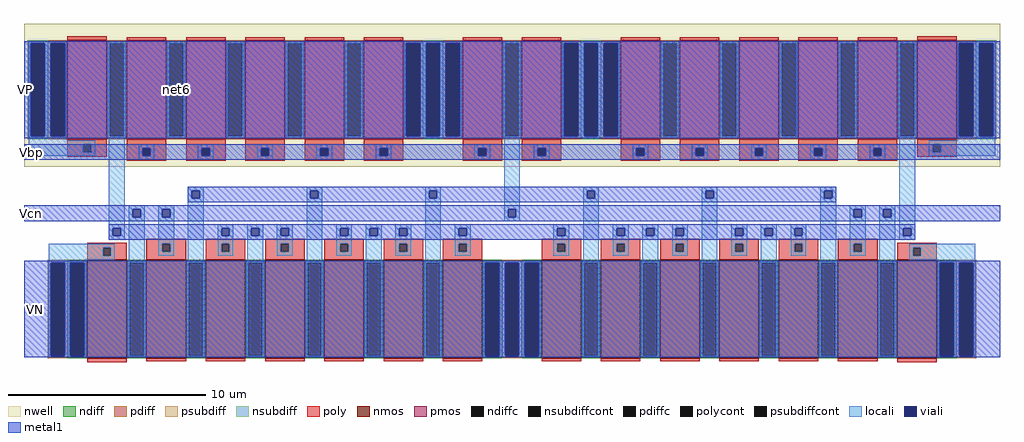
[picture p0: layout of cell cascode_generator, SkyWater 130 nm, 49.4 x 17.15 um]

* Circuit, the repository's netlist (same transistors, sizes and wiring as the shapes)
* SPICE3 file created from cascode_generator.ext - technology: sky130A


* Top level circuit cascode_generator

X0 a_1220_3790# w_380_3510# w_380_3510# w_380_3510# sky130_fd_pr__pfet_01v8 ad=1e+13p pd=2.4e+07u as=3e+13p ps=7.2e+07u w=5e+06u l=2e+06u
X1 a_620_1570# a_1220_3790# a_2020_1570# a_620_1570# sky130_fd_pr__nfet_01v8 ad=2e+13p pd=4.8e+07u as=3e+13p ps=7.2e+07u w=5e+06u l=2e+06u
X2 a_2020_1570# a_1220_3790# a_620_1570# a_620_1570# sky130_fd_pr__nfet_01v8 ad=0p pd=0u as=0p ps=0u w=5e+06u l=2e+06u
X3 w_380_3510# a_1420_3570# a_1420_1570# w_380_3510# sky130_fd_pr__pfet_01v8 ad=0p pd=0u as=5e+12p ps=1.2e+07u w=5e+06u l=2e+06u
X4 a_6820_3790# a_1420_3570# w_380_3510# w_380_3510# sky130_fd_pr__pfet_01v8 ad=5e+12p pd=1.2e+07u as=0p ps=0u w=5e+06u l=2e+06u
X5 a_1420_1570# a_1420_1570# a_2020_1570# a_620_1570# sky130_fd_pr__nfet_01v8 ad=1e+13p pd=2.4e+07u as=0p ps=0u w=5e+06u l=2e+06u
X6 a_1220_3790# a_1220_3790# a_2020_1570# a_620_1570# sky130_fd_pr__nfet_01v8 ad=2e+13p pd=4.8e+07u as=0p ps=0u w=5e+06u l=2e+06u
X7 a_3620_3790# a_1420_3570# a_3020_3790# w_380_3510# sky130_fd_pr__pfet_01v8 ad=5e+12p pd=1.2e+07u as=5e+12p ps=1.2e+07u w=5e+06u l=2e+06u
X8 w_380_3510# w_380_3510# a_1220_3790# w_380_3510# sky130_fd_pr__pfet_01v8 ad=0p pd=0u as=0p ps=0u w=5e+06u l=2e+06u
X9 a_1220_3790# a_1220_3790# a_2020_1570# a_620_1570# sky130_fd_pr__nfet_01v8 ad=0p pd=0u as=0p ps=0u w=5e+06u l=2e+06u
X10 a_1220_3790# a_1220_3790# a_2020_1570# a_620_1570# sky130_fd_pr__nfet_01v8 ad=0p pd=0u as=0p ps=0u w=5e+06u l=2e+06u
X11 a_2420_3790# a_1420_3570# net6 w_380_3510# sky130_fd_pr__pfet_01v8 ad=5e+12p pd=1.2e+07u as=5e+12p ps=1.2e+07u w=5e+06u l=2e+06u
X12 w_380_3510# a_1420_3570# a_3620_3790# w_380_3510# sky130_fd_pr__pfet_01v8 ad=0p pd=0u as=0p ps=0u w=5e+06u l=2e+06u
X13 a_8620_3790# a_1420_3570# a_8020_3790# w_380_3510# sky130_fd_pr__pfet_01v8 ad=5e+12p pd=1.2e+07u as=5e+12p ps=1.2e+07u w=5e+06u l=2e+06u
X14 a_1420_1570# a_1420_3570# w_380_3510# w_380_3510# sky130_fd_pr__pfet_01v8 ad=0p pd=0u as=0p ps=0u w=5e+06u l=2e+06u
X15 a_1420_1570# a_620_1570# a_620_1570# a_620_1570# sky130_fd_pr__nfet_01v8 ad=0p pd=0u as=0p ps=0u w=5e+06u l=2e+06u
X16 a_1220_3790# a_1220_3790# a_2020_1570# a_620_1570# sky130_fd_pr__nfet_01v8 ad=0p pd=0u as=0p ps=0u w=5e+06u l=2e+06u
X17 a_2020_1570# a_1220_3790# a_1220_3790# a_620_1570# sky130_fd_pr__nfet_01v8 ad=0p pd=0u as=0p ps=0u w=5e+06u l=2e+06u
X18 a_3020_3790# a_1420_3570# a_2420_3790# w_380_3510# sky130_fd_pr__pfet_01v8 ad=0p pd=0u as=0p ps=0u w=5e+06u l=2e+06u
X19 a_7420_3790# a_1420_3570# a_6820_3790# w_380_3510# sky130_fd_pr__pfet_01v8 ad=5e+12p pd=1.2e+07u as=0p ps=0u w=5e+06u l=2e+06u
X20 a_1220_3790# a_1420_3570# a_8620_3790# w_380_3510# sky130_fd_pr__pfet_01v8 ad=0p pd=0u as=0p ps=0u w=5e+06u l=2e+06u
X21 a_620_1570# a_620_1570# a_1420_1570# a_620_1570# sky130_fd_pr__nfet_01v8 ad=0p pd=0u as=0p ps=0u w=5e+06u l=2e+06u
X22 a_2020_1570# a_1220_3790# a_1220_3790# a_620_1570# sky130_fd_pr__nfet_01v8 ad=0p pd=0u as=0p ps=0u w=5e+06u l=2e+06u
X23 a_2020_1570# a_1420_1570# a_1420_1570# a_620_1570# sky130_fd_pr__nfet_01v8 ad=0p pd=0u as=0p ps=0u w=5e+06u l=2e+06u
X24 a_2020_1570# a_1220_3790# a_1220_3790# a_620_1570# sky130_fd_pr__nfet_01v8 ad=0p pd=0u as=0p ps=0u w=5e+06u l=2e+06u
X25 net6 a_1420_3570# a_1220_3790# w_380_3510# sky130_fd_pr__pfet_01v8 ad=0p pd=0u as=0p ps=0u w=5e+06u l=2e+06u
X26 a_8020_3790# a_1420_3570# a_7420_3790# w_380_3510# sky130_fd_pr__pfet_01v8 ad=0p pd=0u as=0p ps=0u w=5e+06u l=2e+06u
X27 a_2020_1570# a_1220_3790# a_1220_3790# a_620_1570# sky130_fd_pr__nfet_01v8 ad=0p pd=0u as=0p ps=0u w=5e+06u l=2e+06u
.end

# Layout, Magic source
magic
tech sky130A
<< nwell >>
rect 190 1755 5130 2480
<< nmos >>
rect 510 785 710 1285
rect 810 785 1010 1285
rect 1110 785 1310 1285
rect 1410 785 1610 1285
rect 1710 785 1910 1285
rect 2010 785 2210 1285
rect 2310 785 2510 1285
rect 2810 785 3010 1285
rect 3110 785 3310 1285
rect 3410 785 3610 1285
rect 3710 785 3910 1285
rect 4010 785 4210 1285
rect 4310 785 4510 1285
rect 4610 785 4810 1285
<< pmos >>
rect 410 1895 610 2395
rect 710 1895 910 2395
rect 1010 1895 1210 2395
rect 1310 1895 1510 2395
rect 1610 1895 1810 2395
rect 1910 1895 2110 2395
rect 2410 1895 2610 2395
rect 2710 1895 2910 2395
rect 3210 1895 3410 2395
rect 3510 1895 3710 2395
rect 3810 1895 4010 2395
rect 4110 1895 4310 2395
rect 4410 1895 4610 2395
rect 4710 1895 4910 2395
<< ndiff >>
rect 410 1270 510 1285
rect 410 800 425 1270
rect 495 800 510 1270
rect 410 785 510 800
rect 710 1270 810 1285
rect 710 800 725 1270
rect 795 800 810 1270
rect 710 785 810 800
rect 1010 1270 1110 1285
rect 1010 800 1025 1270
rect 1095 800 1110 1270
rect 1010 785 1110 800
rect 1310 1270 1410 1285
rect 1310 800 1325 1270
rect 1395 800 1410 1270
rect 1310 785 1410 800
rect 1610 1270 1710 1285
rect 1610 800 1625 1270
rect 1695 800 1710 1270
rect 1610 785 1710 800
rect 1910 1270 2010 1285
rect 1910 800 1925 1270
rect 1995 800 2010 1270
rect 1910 785 2010 800
rect 2210 1270 2310 1285
rect 2210 800 2225 1270
rect 2295 800 2310 1270
rect 2210 785 2310 800
rect 2510 1270 2610 1285
rect 2710 1270 2810 1285
rect 2510 800 2525 1270
rect 2595 800 2610 1270
rect 2710 800 2725 1270
rect 2795 800 2810 1270
rect 2510 785 2610 800
rect 2710 785 2810 800
rect 3010 1270 3110 1285
rect 3010 800 3025 1270
rect 3095 800 3110 1270
rect 3010 785 3110 800
rect 3310 1270 3410 1285
rect 3310 800 3325 1270
rect 3395 800 3410 1270
rect 3310 785 3410 800
rect 3610 1270 3710 1285
rect 3610 800 3625 1270
rect 3695 800 3710 1270
rect 3610 785 3710 800
rect 3910 1270 4010 1285
rect 3910 800 3925 1270
rect 3995 800 4010 1270
rect 3910 785 4010 800
rect 4210 1270 4310 1285
rect 4210 800 4225 1270
rect 4295 800 4310 1270
rect 4210 785 4310 800
rect 4510 1270 4610 1285
rect 4510 800 4525 1270
rect 4595 800 4610 1270
rect 4510 785 4610 800
rect 4810 1270 4910 1285
rect 4810 800 4825 1270
rect 4895 800 4910 1270
rect 4810 785 4910 800
<< pdiff >>
rect 310 2380 410 2395
rect 310 1910 325 2380
rect 395 1910 410 2380
rect 310 1895 410 1910
rect 610 2380 710 2395
rect 610 1910 625 2380
rect 695 1910 710 2380
rect 610 1895 710 1910
rect 910 2380 1010 2395
rect 910 1910 925 2380
rect 995 1910 1010 2380
rect 910 1895 1010 1910
rect 1210 2380 1310 2395
rect 1210 1910 1225 2380
rect 1295 1910 1310 2380
rect 1210 1895 1310 1910
rect 1510 2380 1610 2395
rect 1510 1910 1525 2380
rect 1595 1910 1610 2380
rect 1510 1895 1610 1910
rect 1810 2380 1910 2395
rect 1810 1910 1825 2380
rect 1895 1910 1910 2380
rect 1810 1895 1910 1910
rect 2110 2380 2210 2395
rect 2310 2380 2410 2395
rect 2110 1910 2125 2380
rect 2195 1910 2210 2380
rect 2310 1910 2325 2380
rect 2395 1910 2410 2380
rect 2110 1895 2210 1910
rect 2310 1895 2410 1910
rect 2610 2380 2710 2395
rect 2610 1910 2625 2380
rect 2695 1910 2710 2380
rect 2610 1895 2710 1910
rect 2910 2380 3010 2395
rect 3110 2380 3210 2395
rect 2910 1910 2925 2380
rect 2995 1910 3010 2380
rect 3110 1910 3125 2380
rect 3195 1910 3210 2380
rect 2910 1895 3010 1910
rect 3110 1895 3210 1910
rect 3410 2380 3510 2395
rect 3410 1910 3425 2380
rect 3495 1910 3510 2380
rect 3410 1895 3510 1910
rect 3710 2380 3810 2395
rect 3710 1910 3725 2380
rect 3795 1910 3810 2380
rect 3710 1895 3810 1910
rect 4010 2380 4110 2395
rect 4010 1910 4025 2380
rect 4095 1910 4110 2380
rect 4010 1895 4110 1910
rect 4310 2380 4410 2395
rect 4310 1910 4325 2380
rect 4395 1910 4410 2380
rect 4310 1895 4410 1910
rect 4610 2380 4710 2395
rect 4610 1910 4625 2380
rect 4695 1910 4710 2380
rect 4610 1895 4710 1910
rect 4910 2380 5010 2395
rect 4910 1910 4925 2380
rect 4995 1910 5010 2380
rect 4910 1895 5010 1910
<< ndiffc >>
rect 425 800 495 1270
rect 725 800 795 1270
rect 1025 800 1095 1270
rect 1325 800 1395 1270
rect 1625 800 1695 1270
rect 1925 800 1995 1270
rect 2225 800 2295 1270
rect 2525 800 2595 1270
rect 2725 800 2795 1270
rect 3025 800 3095 1270
rect 3325 800 3395 1270
rect 3625 800 3695 1270
rect 3925 800 3995 1270
rect 4225 800 4295 1270
rect 4525 800 4595 1270
rect 4825 800 4895 1270
<< pdiffc >>
rect 325 1910 395 2380
rect 625 1910 695 2380
rect 925 1910 995 2380
rect 1225 1910 1295 2380
rect 1525 1910 1595 2380
rect 1825 1910 1895 2380
rect 2125 1910 2195 2380
rect 2325 1910 2395 2380
rect 2625 1910 2695 2380
rect 2925 1910 2995 2380
rect 3125 1910 3195 2380
rect 3425 1910 3495 2380
rect 3725 1910 3795 2380
rect 4025 1910 4095 2380
rect 4325 1910 4395 2380
rect 4625 1910 4695 2380
rect 4925 1910 4995 2380
<< psubdiff >>
rect 310 1270 410 1285
rect 310 800 325 1270
rect 395 800 410 1270
rect 310 785 410 800
rect 2610 1270 2710 1285
rect 2610 800 2625 1270
rect 2695 800 2710 1270
rect 2610 785 2710 800
rect 4910 1270 5010 1285
rect 4910 800 4925 1270
rect 4995 800 5010 1270
rect 4910 785 5010 800
<< nsubdiff >>
rect 210 2380 310 2395
rect 210 1910 225 2380
rect 295 1910 310 2380
rect 210 1895 310 1910
rect 2210 2380 2310 2395
rect 2210 1910 2225 2380
rect 2295 1910 2310 2380
rect 2210 1895 2310 1910
rect 3010 2380 3110 2395
rect 3010 1910 3025 2380
rect 3095 1910 3110 2380
rect 3010 1895 3110 1910
rect 5010 2380 5110 2395
rect 5010 1910 5025 2380
rect 5095 1910 5110 2380
rect 5010 1895 5110 1910
<< psubdiffcont >>
rect 325 800 395 1270
rect 2625 800 2695 1270
rect 4925 800 4995 1270
<< nsubdiffcont >>
rect 225 1910 295 2380
rect 2225 1910 2295 2380
rect 3025 1910 3095 2380
rect 5025 1910 5095 2380
<< poly >>
rect 410 2395 610 2415
rect 710 2395 910 2410
rect 1010 2395 1210 2410
rect 1310 2395 1510 2410
rect 1610 2395 1810 2410
rect 1910 2395 2110 2410
rect 2410 2395 2610 2410
rect 2710 2395 2910 2410
rect 3210 2395 3410 2410
rect 3510 2395 3710 2410
rect 3810 2395 4010 2410
rect 4110 2395 4310 2410
rect 4410 2395 4610 2410
rect 4710 2395 4910 2415
rect 410 1870 610 1895
rect 410 1830 490 1870
rect 530 1830 610 1870
rect 410 1805 610 1830
rect 710 1850 910 1895
rect 710 1810 790 1850
rect 830 1810 910 1850
rect 710 1785 910 1810
rect 1010 1850 1210 1895
rect 1010 1810 1090 1850
rect 1130 1810 1210 1850
rect 1010 1785 1210 1810
rect 1310 1850 1510 1895
rect 1310 1810 1390 1850
rect 1430 1810 1510 1850
rect 1310 1785 1510 1810
rect 1610 1850 1810 1895
rect 1610 1810 1690 1850
rect 1730 1810 1810 1850
rect 1610 1785 1810 1810
rect 1910 1850 2110 1895
rect 1910 1810 1990 1850
rect 2030 1810 2110 1850
rect 1910 1785 2110 1810
rect 2410 1850 2610 1895
rect 2410 1810 2490 1850
rect 2530 1810 2610 1850
rect 2410 1785 2610 1810
rect 2710 1850 2910 1895
rect 2710 1810 2790 1850
rect 2830 1810 2910 1850
rect 2710 1785 2910 1810
rect 3210 1850 3410 1895
rect 3210 1810 3290 1850
rect 3330 1810 3410 1850
rect 3210 1785 3410 1810
rect 3510 1850 3710 1895
rect 3510 1810 3590 1850
rect 3630 1810 3710 1850
rect 3510 1785 3710 1810
rect 3810 1850 4010 1895
rect 3810 1810 3890 1850
rect 3930 1810 4010 1850
rect 3810 1785 4010 1810
rect 4110 1850 4310 1895
rect 4110 1810 4190 1850
rect 4230 1810 4310 1850
rect 4110 1785 4310 1810
rect 4410 1850 4610 1895
rect 4410 1810 4490 1850
rect 4530 1810 4610 1850
rect 4410 1785 4610 1810
rect 4710 1870 4910 1895
rect 4710 1830 4790 1870
rect 4830 1830 4910 1870
rect 4710 1805 4910 1830
rect 510 1345 710 1370
rect 510 1305 590 1345
rect 630 1305 710 1345
rect 510 1285 710 1305
rect 810 1365 1010 1390
rect 810 1325 890 1365
rect 930 1325 1010 1365
rect 810 1285 1010 1325
rect 1110 1365 1310 1390
rect 1110 1325 1190 1365
rect 1230 1325 1310 1365
rect 1110 1285 1310 1325
rect 1410 1365 1610 1390
rect 1410 1325 1490 1365
rect 1530 1325 1610 1365
rect 1410 1285 1610 1325
rect 1710 1365 1910 1390
rect 1710 1325 1790 1365
rect 1830 1325 1910 1365
rect 1710 1285 1910 1325
rect 2010 1365 2210 1390
rect 2010 1325 2090 1365
rect 2130 1325 2210 1365
rect 2010 1285 2210 1325
rect 2310 1365 2510 1390
rect 2310 1325 2390 1365
rect 2430 1325 2510 1365
rect 2310 1285 2510 1325
rect 2810 1365 3010 1390
rect 2810 1325 2890 1365
rect 2930 1325 3010 1365
rect 2810 1285 3010 1325
rect 3110 1365 3310 1390
rect 3110 1325 3190 1365
rect 3230 1325 3310 1365
rect 3110 1285 3310 1325
rect 3410 1365 3610 1390
rect 3410 1325 3490 1365
rect 3530 1325 3610 1365
rect 3410 1285 3610 1325
rect 3710 1365 3910 1390
rect 3710 1325 3790 1365
rect 3830 1325 3910 1365
rect 3710 1285 3910 1325
rect 4010 1365 4210 1390
rect 4010 1325 4090 1365
rect 4130 1325 4210 1365
rect 4010 1285 4210 1325
rect 4310 1365 4510 1390
rect 4310 1325 4390 1365
rect 4430 1325 4510 1365
rect 4310 1285 4510 1325
rect 4610 1345 4810 1370
rect 4610 1305 4690 1345
rect 4730 1305 4810 1345
rect 4610 1285 4810 1305
rect 510 765 710 785
rect 810 770 1010 785
rect 1110 770 1310 785
rect 1410 770 1610 785
rect 1710 770 1910 785
rect 2010 770 2210 785
rect 2310 770 2510 785
rect 2810 770 3010 785
rect 3110 770 3310 785
rect 3410 770 3610 785
rect 3710 770 3910 785
rect 4010 770 4210 785
rect 4310 770 4510 785
rect 4610 765 4810 785
<< polycont >>
rect 490 1830 530 1870
rect 790 1810 830 1850
rect 1090 1810 1130 1850
rect 1390 1810 1430 1850
rect 1690 1810 1730 1850
rect 1990 1810 2030 1850
rect 2490 1810 2530 1850
rect 2790 1810 2830 1850
rect 3290 1810 3330 1850
rect 3590 1810 3630 1850
rect 3890 1810 3930 1850
rect 4190 1810 4230 1850
rect 4490 1810 4530 1850
rect 4790 1830 4830 1870
rect 590 1305 630 1345
rect 890 1325 930 1365
rect 1190 1325 1230 1365
rect 1490 1325 1530 1365
rect 1790 1325 1830 1365
rect 2090 1325 2130 1365
rect 2390 1325 2430 1365
rect 2890 1325 2930 1365
rect 3190 1325 3230 1365
rect 3490 1325 3530 1365
rect 3790 1325 3830 1365
rect 4090 1325 4130 1365
rect 4390 1325 4430 1365
rect 4690 1305 4730 1345
<< locali >>
rect 215 2380 405 2390
rect 215 1910 225 2380
rect 295 1910 325 2380
rect 395 1910 405 2380
rect 215 1890 405 1910
rect 615 2380 705 2390
rect 615 1910 625 2380
rect 695 1910 705 2380
rect 615 1900 705 1910
rect 915 2380 1005 2390
rect 915 1910 925 2380
rect 995 1910 1005 2380
rect 915 1900 1005 1910
rect 1215 2380 1305 2390
rect 1215 1910 1225 2380
rect 1295 1910 1305 2380
rect 1215 1900 1305 1910
rect 1515 2380 1605 2390
rect 1515 1910 1525 2380
rect 1595 1910 1605 2380
rect 1515 1900 1605 1910
rect 1815 2380 1905 2390
rect 1815 1910 1825 2380
rect 1895 1910 1905 2380
rect 1815 1900 1905 1910
rect 2115 2380 2405 2390
rect 2115 1910 2125 2380
rect 2195 1910 2225 2380
rect 2295 1910 2325 2380
rect 2395 1910 2405 2380
rect 2115 1900 2405 1910
rect 2615 2380 2705 2390
rect 2615 1910 2625 2380
rect 2695 1910 2705 2380
rect 2615 1900 2705 1910
rect 2915 2380 3205 2390
rect 2915 1910 2925 2380
rect 2995 1910 3025 2380
rect 3095 1910 3125 2380
rect 3195 1910 3205 2380
rect 2915 1900 3205 1910
rect 3415 2380 3505 2390
rect 3415 1910 3425 2380
rect 3495 1910 3505 2380
rect 3415 1900 3505 1910
rect 3715 2380 3805 2390
rect 3715 1910 3725 2380
rect 3795 1910 3805 2380
rect 3715 1900 3805 1910
rect 4015 2380 4105 2390
rect 4015 1910 4025 2380
rect 4095 1910 4105 2380
rect 4015 1900 4105 1910
rect 4315 2380 4405 2390
rect 4315 1910 4325 2380
rect 4395 1910 4405 2380
rect 4315 1900 4405 1910
rect 4615 2380 4705 2390
rect 4615 1910 4625 2380
rect 4695 1910 4705 2380
rect 4615 1900 4705 1910
rect 4915 2380 5105 2390
rect 4915 1910 4925 2380
rect 4995 1910 5025 2380
rect 5095 1910 5105 2380
rect 215 1870 550 1890
rect 215 1830 490 1870
rect 530 1830 550 1870
rect 215 1810 550 1830
rect 620 1445 700 1900
rect 770 1850 850 1870
rect 770 1810 790 1850
rect 830 1810 850 1850
rect 770 1790 850 1810
rect 1070 1850 1150 1870
rect 1070 1810 1090 1850
rect 1130 1810 1150 1850
rect 1070 1790 1150 1810
rect 1370 1850 1450 1870
rect 1370 1810 1390 1850
rect 1430 1810 1450 1850
rect 1370 1790 1450 1810
rect 1670 1850 1750 1870
rect 1670 1810 1690 1850
rect 1730 1810 1750 1850
rect 1670 1790 1750 1810
rect 1970 1850 2050 1870
rect 1970 1810 1990 1850
rect 2030 1810 2050 1850
rect 1970 1790 2050 1810
rect 2470 1850 2550 1870
rect 2470 1810 2490 1850
rect 2530 1810 2550 1850
rect 2470 1790 2550 1810
rect 1020 1635 1100 1655
rect 1020 1595 1040 1635
rect 1080 1595 1100 1635
rect 620 1405 640 1445
rect 680 1405 700 1445
rect 620 1385 700 1405
rect 720 1540 800 1560
rect 720 1500 740 1540
rect 780 1500 800 1540
rect 315 1345 650 1365
rect 315 1305 590 1345
rect 630 1305 650 1345
rect 315 1285 650 1305
rect 315 1270 505 1285
rect 720 1280 800 1500
rect 870 1540 950 1560
rect 870 1500 890 1540
rect 930 1500 950 1540
rect 870 1365 950 1500
rect 870 1325 890 1365
rect 930 1325 950 1365
rect 870 1305 950 1325
rect 1020 1280 1100 1595
rect 1620 1635 1700 1655
rect 1620 1595 1640 1635
rect 1680 1595 1700 1635
rect 1170 1445 1250 1465
rect 1170 1405 1190 1445
rect 1230 1405 1250 1445
rect 1170 1365 1250 1405
rect 1170 1325 1190 1365
rect 1230 1325 1250 1365
rect 1170 1305 1250 1325
rect 1320 1445 1400 1465
rect 1320 1405 1340 1445
rect 1380 1405 1400 1445
rect 1320 1280 1400 1405
rect 1470 1445 1550 1465
rect 1470 1405 1490 1445
rect 1530 1405 1550 1445
rect 1470 1365 1550 1405
rect 1470 1325 1490 1365
rect 1530 1325 1550 1365
rect 1470 1305 1550 1325
rect 1620 1280 1700 1595
rect 2220 1635 2300 1655
rect 2220 1595 2240 1635
rect 2280 1595 2300 1635
rect 1770 1445 1850 1465
rect 1770 1405 1790 1445
rect 1830 1405 1850 1445
rect 1770 1365 1850 1405
rect 1770 1325 1790 1365
rect 1830 1325 1850 1365
rect 1770 1305 1850 1325
rect 1920 1445 2000 1465
rect 1920 1405 1940 1445
rect 1980 1405 2000 1445
rect 1920 1280 2000 1405
rect 2070 1445 2150 1465
rect 2070 1405 2090 1445
rect 2130 1405 2150 1445
rect 2070 1365 2150 1405
rect 2070 1325 2090 1365
rect 2130 1325 2150 1365
rect 2070 1305 2150 1325
rect 2220 1280 2300 1595
rect 2620 1540 2700 1900
rect 2770 1850 2850 1870
rect 2770 1810 2790 1850
rect 2830 1810 2850 1850
rect 2770 1790 2850 1810
rect 3270 1850 3350 1870
rect 3270 1810 3290 1850
rect 3330 1810 3350 1850
rect 3270 1790 3350 1810
rect 3570 1850 3650 1870
rect 3570 1810 3590 1850
rect 3630 1810 3650 1850
rect 3570 1790 3650 1810
rect 3870 1850 3950 1870
rect 3870 1810 3890 1850
rect 3930 1810 3950 1850
rect 3870 1790 3950 1810
rect 4170 1850 4250 1870
rect 4170 1810 4190 1850
rect 4230 1810 4250 1850
rect 4170 1790 4250 1810
rect 4470 1850 4550 1870
rect 4470 1810 4490 1850
rect 4530 1810 4550 1850
rect 4470 1790 4550 1810
rect 2620 1500 2640 1540
rect 2680 1500 2700 1540
rect 2620 1480 2700 1500
rect 3020 1635 3100 1655
rect 3020 1595 3040 1635
rect 3080 1595 3100 1635
rect 2370 1445 2450 1465
rect 2370 1405 2390 1445
rect 2430 1405 2450 1445
rect 2370 1365 2450 1405
rect 2370 1325 2390 1365
rect 2430 1325 2450 1365
rect 2370 1305 2450 1325
rect 2870 1445 2950 1465
rect 2870 1405 2890 1445
rect 2930 1405 2950 1445
rect 2870 1365 2950 1405
rect 2870 1325 2890 1365
rect 2930 1325 2950 1365
rect 2870 1305 2950 1325
rect 3020 1280 3100 1595
rect 3620 1635 3700 1655
rect 3620 1595 3640 1635
rect 3680 1595 3700 1635
rect 3170 1445 3250 1465
rect 3170 1405 3190 1445
rect 3230 1405 3250 1445
rect 3170 1365 3250 1405
rect 3170 1325 3190 1365
rect 3230 1325 3250 1365
rect 3170 1305 3250 1325
rect 3320 1445 3400 1465
rect 3320 1405 3340 1445
rect 3380 1405 3400 1445
rect 3320 1280 3400 1405
rect 3470 1445 3550 1465
rect 3470 1405 3490 1445
rect 3530 1405 3550 1445
rect 3470 1365 3550 1405
rect 3470 1325 3490 1365
rect 3530 1325 3550 1365
rect 3470 1305 3550 1325
rect 3620 1280 3700 1595
rect 4220 1635 4300 1655
rect 4220 1595 4240 1635
rect 4280 1595 4300 1635
rect 3770 1445 3850 1465
rect 3770 1405 3790 1445
rect 3830 1405 3850 1445
rect 3770 1365 3850 1405
rect 3770 1325 3790 1365
rect 3830 1325 3850 1365
rect 3770 1305 3850 1325
rect 3920 1445 4000 1465
rect 3920 1405 3940 1445
rect 3980 1405 4000 1445
rect 3920 1280 4000 1405
rect 4070 1445 4150 1465
rect 4070 1405 4090 1445
rect 4130 1405 4150 1445
rect 4070 1365 4150 1405
rect 4070 1325 4090 1365
rect 4130 1325 4150 1365
rect 4070 1305 4150 1325
rect 4220 1280 4300 1595
rect 4370 1540 4450 1560
rect 4370 1500 4390 1540
rect 4430 1500 4450 1540
rect 4370 1365 4450 1500
rect 4370 1325 4390 1365
rect 4430 1325 4450 1365
rect 4370 1305 4450 1325
rect 4520 1540 4600 1560
rect 4520 1500 4540 1540
rect 4580 1500 4600 1540
rect 4520 1280 4600 1500
rect 4620 1445 4700 1900
rect 4915 1890 5105 1910
rect 4770 1870 5105 1890
rect 4770 1830 4790 1870
rect 4830 1830 5105 1870
rect 4770 1810 5105 1830
rect 4620 1405 4640 1445
rect 4680 1405 4700 1445
rect 4620 1385 4700 1405
rect 4670 1345 5005 1365
rect 4670 1305 4690 1345
rect 4730 1305 5005 1345
rect 4670 1285 5005 1305
rect 315 800 325 1270
rect 395 800 425 1270
rect 495 800 505 1270
rect 315 790 505 800
rect 715 1270 805 1280
rect 715 800 725 1270
rect 795 800 805 1270
rect 715 790 805 800
rect 1015 1270 1105 1280
rect 1015 800 1025 1270
rect 1095 800 1105 1270
rect 1015 790 1105 800
rect 1315 1270 1405 1280
rect 1315 800 1325 1270
rect 1395 800 1405 1270
rect 1315 790 1405 800
rect 1615 1270 1705 1280
rect 1615 800 1625 1270
rect 1695 800 1705 1270
rect 1615 790 1705 800
rect 1915 1270 2005 1280
rect 1915 800 1925 1270
rect 1995 800 2005 1270
rect 1915 790 2005 800
rect 2215 1270 2305 1280
rect 2215 800 2225 1270
rect 2295 800 2305 1270
rect 2215 790 2305 800
rect 2515 1270 2805 1280
rect 2515 800 2525 1270
rect 2595 800 2625 1270
rect 2695 800 2725 1270
rect 2795 800 2805 1270
rect 2515 790 2805 800
rect 3015 1270 3105 1280
rect 3015 800 3025 1270
rect 3095 800 3105 1270
rect 3015 790 3105 800
rect 3315 1270 3405 1280
rect 3315 800 3325 1270
rect 3395 800 3405 1270
rect 3315 790 3405 800
rect 3615 1270 3705 1280
rect 3615 800 3625 1270
rect 3695 800 3705 1270
rect 3615 790 3705 800
rect 3915 1270 4005 1280
rect 3915 800 3925 1270
rect 3995 800 4005 1270
rect 3915 790 4005 800
rect 4215 1270 4305 1280
rect 4215 800 4225 1270
rect 4295 800 4305 1270
rect 4215 790 4305 800
rect 4515 1270 4605 1280
rect 4515 800 4525 1270
rect 4595 800 4605 1270
rect 4515 790 4605 800
rect 4815 1270 5005 1285
rect 4815 800 4825 1270
rect 4895 800 4925 1270
rect 4995 800 5005 1270
rect 4815 790 5005 800
<< viali >>
rect 225 1910 295 2380
rect 325 1910 395 2380
rect 2125 1910 2195 2380
rect 2225 1910 2295 2380
rect 2325 1910 2395 2380
rect 2925 1910 2995 2380
rect 3025 1910 3095 2380
rect 3125 1910 3195 2380
rect 4925 1910 4995 2380
rect 5025 1910 5095 2380
rect 790 1810 830 1850
rect 1090 1810 1130 1850
rect 1390 1810 1430 1850
rect 1690 1810 1730 1850
rect 1990 1810 2030 1850
rect 2490 1810 2530 1850
rect 1040 1595 1080 1635
rect 640 1405 680 1445
rect 740 1500 780 1540
rect 890 1500 930 1540
rect 1640 1595 1680 1635
rect 1190 1405 1230 1445
rect 1340 1405 1380 1445
rect 1490 1405 1530 1445
rect 2240 1595 2280 1635
rect 1790 1405 1830 1445
rect 1940 1405 1980 1445
rect 2090 1405 2130 1445
rect 2790 1810 2830 1850
rect 3290 1810 3330 1850
rect 3590 1810 3630 1850
rect 3890 1810 3930 1850
rect 4190 1810 4230 1850
rect 4490 1810 4530 1850
rect 2640 1500 2680 1540
rect 3040 1595 3080 1635
rect 2390 1405 2430 1445
rect 2890 1405 2930 1445
rect 3640 1595 3680 1635
rect 3190 1405 3230 1445
rect 3340 1405 3380 1445
rect 3490 1405 3530 1445
rect 4240 1595 4280 1635
rect 3790 1405 3830 1445
rect 3940 1405 3980 1445
rect 4090 1405 4130 1445
rect 4390 1500 4430 1540
rect 4540 1500 4580 1540
rect 4640 1405 4680 1445
rect 325 800 395 1270
rect 425 800 495 1270
rect 2525 800 2595 1270
rect 2625 800 2695 1270
rect 2725 800 2795 1270
rect 4825 800 4895 1270
rect 4925 800 4995 1270
<< metal1 >>
rect 190 2380 5130 2390
rect 190 1910 225 2380
rect 295 1910 325 2380
rect 395 1910 2125 2380
rect 2195 1910 2225 2380
rect 2295 1910 2325 2380
rect 2395 1910 2925 2380
rect 2995 1910 3025 2380
rect 3095 1910 3125 2380
rect 3195 1910 4925 2380
rect 4995 1910 5025 2380
rect 5095 1910 5130 2380
rect 190 1900 5130 1910
rect 190 1850 5130 1870
rect 190 1810 790 1850
rect 830 1810 1090 1850
rect 1130 1810 1390 1850
rect 1430 1810 1690 1850
rect 1730 1810 1990 1850
rect 2030 1810 2490 1850
rect 2530 1810 2790 1850
rect 2830 1810 3290 1850
rect 3330 1810 3590 1850
rect 3630 1810 3890 1850
rect 3930 1810 4190 1850
rect 4230 1810 4490 1850
rect 4530 1810 5130 1850
rect 190 1790 5130 1810
rect 1020 1635 4300 1655
rect 1020 1595 1040 1635
rect 1080 1595 1640 1635
rect 1680 1595 2240 1635
rect 2280 1595 3040 1635
rect 3080 1595 3640 1635
rect 3680 1595 4240 1635
rect 4280 1595 4300 1635
rect 1020 1575 4300 1595
rect 190 1540 5130 1560
rect 190 1500 740 1540
rect 780 1500 890 1540
rect 930 1500 2640 1540
rect 2680 1500 4390 1540
rect 4430 1500 4540 1540
rect 4580 1500 5130 1540
rect 190 1480 5130 1500
rect 620 1445 4700 1465
rect 620 1405 640 1445
rect 680 1405 1190 1445
rect 1230 1405 1340 1445
rect 1380 1405 1490 1445
rect 1530 1405 1790 1445
rect 1830 1405 1940 1445
rect 1980 1405 2090 1445
rect 2130 1405 2390 1445
rect 2430 1405 2890 1445
rect 2930 1405 3190 1445
rect 3230 1405 3340 1445
rect 3380 1405 3490 1445
rect 3530 1405 3790 1445
rect 3830 1405 3940 1445
rect 3980 1405 4090 1445
rect 4130 1405 4640 1445
rect 4680 1405 4700 1445
rect 620 1385 4700 1405
rect 190 1270 5130 1280
rect 190 800 325 1270
rect 395 800 425 1270
rect 495 800 2525 1270
rect 2595 800 2625 1270
rect 2695 800 2725 1270
rect 2795 800 4825 1270
rect 4895 800 4925 1270
rect 4995 800 5130 1270
rect 190 790 5130 800
<< labels >>
rlabel locali 925 1910 1000 2380 1 net6
rlabel metal1 190 790 310 1280 7 VN
port 1 w
rlabel metal1 190 1900 210 2390 7 VP
port 2 w
rlabel metal1 190 1790 270 1870 7 Vbp
port 3 w
rlabel metal1 190 1480 270 1560 7 Vcn
port 4 w
<< end >>
